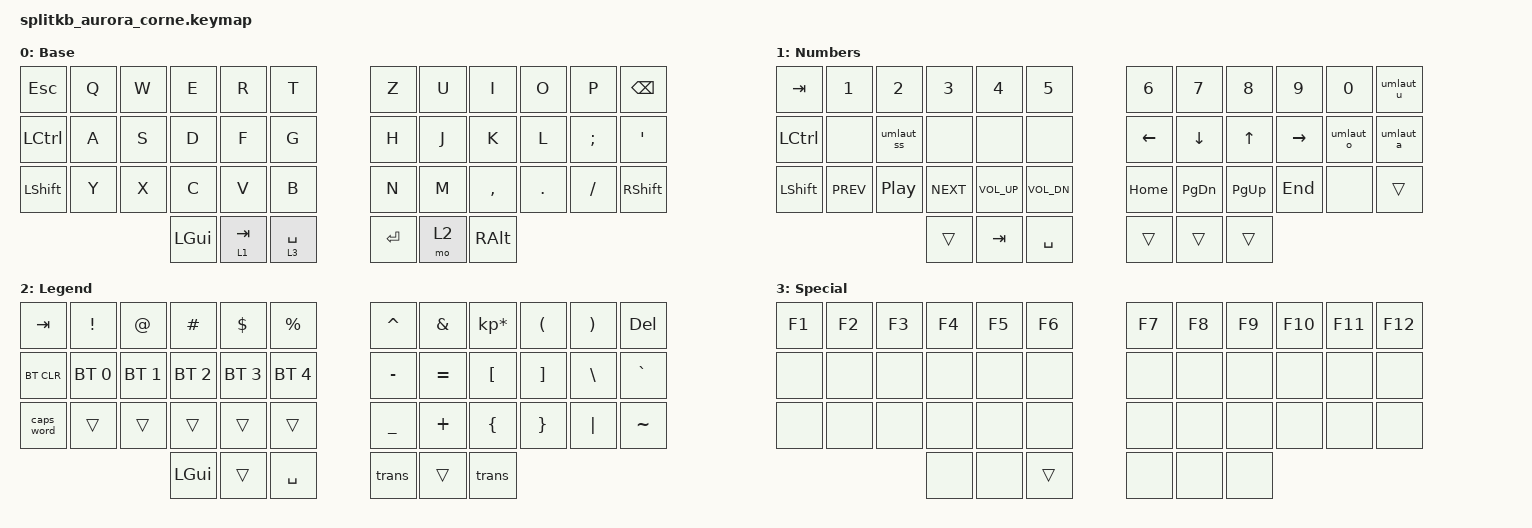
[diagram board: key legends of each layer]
/*
 * Copyright (c) 2020 The ZMK Contributors
 *
 * SPDX-License-Identifier: MIT
 */

#include <behaviors.dtsi>
#include <dt-bindings/zmk/keys.h>
#include <dt-bindings/zmk/bt.h>

/ {
  macros {
        umlaut_a_lower: umlaut_a_lower {
            compatible = "zmk,behavior-macro";
            #binding-cells = <0>;
            bindings = <&kp LALT &kp U &kp A>;
        };
        
        umlaut_o_lower: umlaut_o_lower {
            compatible = "zmk,behavior-macro";
            #binding-cells = <0>;
            bindings = <&kp LALT &kp U &kp O>;
        };
        
        umlaut_u_lower: umlaut_u_lower {
            compatible = "zmk,behavior-macro";
            #binding-cells = <0>;
            bindings = <&kp LALT &kp U &kp U>;
        };

        umlaut_a_upper: umlaut_a_upper {
            compatible = "zmk,behavior-macro";
            #binding-cells = <0>;
            bindings = <&kp LALT &kp U &kp LS(A)>;
        };
        
        umlaut_o_upper: umlaut_o_upper {
            compatible = "zmk,behavior-macro";
            #binding-cells = <0>;
            bindings = <&kp LALT &kp U &kp LS(O)>;
        };
        
        umlaut_u_upper: umlaut_u_upper {
            compatible = "zmk,behavior-macro";
            #binding-cells = <0>;
            bindings = <&kp LALT &kp U &kp LS(U)>;
        };
        
        umlaut_ss: umlaut_ss {
            compatible = "zmk,behavior-macro";
            #binding-cells = <0>;
            bindings = <&kp LALT &kp S>;
        };
    };

    behaviors {
        umlaut_a: umlaut_a {
            compatible = "zmk,behavior-mod-morph";
            #binding-cells = <0>;
            bindings = <&umlaut_a_lower>, <&umlaut_a_upper>;
            mods = <(MOD_LSFT|MOD_RSFT)>;
        };
        
        umlaut_o: umlaut_o {
            compatible = "zmk,behavior-mod-morph";
            #binding-cells = <0>;
            bindings = <&umlaut_o_lower>, <&umlaut_o_upper>;
            mods = <(MOD_LSFT|MOD_RSFT)>;
        };
        
        umlaut_u: umlaut_u {
            compatible = "zmk,behavior-mod-morph";
            #binding-cells = <0>;
            bindings = <&umlaut_u_lower>, <&umlaut_u_upper>;
            mods = <(MOD_LSFT|MOD_RSFT)>;
        };
    };

    keymap {
        compatible = "zmk,keymap";
        
        default_layer {
            display-name = "Base";
        // -----------------------------------------------------------------------------------------
        //     | ESC  |  Q  |  W  |  E  |  R      |  T            |               |  Z  |  U   |  I  |  O   |  P  | BACKSPACE    |
        //     | CTRL |  A  |  S  |  D  |  F      |  G            |               |  H  |  J   |  K  |  L   |  ;  | SINGLE QUOTE |
        //     | SHFT |  Y  |  X  |  C  |  V      |  B            |               |  N  |  M   |  ,  |  .   |  /  | SHIFT        |
        //                        | GUI | LOW/TAB | special/SPACE |               | ENT | RSE  | ALT |
            bindings = <
               &kp ESC   &kp Q &kp W &kp E    &kp R     &kp T            &kp Z   &kp U  &kp I     &kp O   &kp P    &kp BSPC
               &kp LCTRL &kp A &kp S &kp D    &kp F     &kp G            &kp H   &kp J  &kp K     &kp L   &kp SEMI &kp SQT 
               &kp LSHFT &kp Y &kp X &kp C    &kp V     &kp B            &kp N   &kp M  &kp COMMA &kp DOT &kp FSLH &kp RSHFT 
                                     &kp LGUI &lt 1 TAB &lt 3 SPACE      &kp RET &mo 2  &kp RALT
            >;
        };
        
        lower_layer {
            display-name = "Numbers";
        // -----------------------------------------------------------------------------------------
        //     |  TAB     |  1   |  2   |  3   |  4     |  5       |          |  6   |  7    |  8    |  9  |  0  |  Ü  |
        //     | CTRL     |      |  ß   |      |        |          |          | LFT  | DWN   |  UP   | RGT |  Ö  |  Ä  |
        //     | SHFT     | PREV |  PP  | NEXT | VOL_UP | VOL_DOWN |          | HOME | PG_DN | PG_UP | END |     |     |
        //                              | GUI  | TAB    | SPACE    |          | ENT  | RSE   | ALT   |
            bindings = <
               &kp TAB   &kp N1      &kp N2      &kp N3      &kp N4        &kp N5           &kp N6    &kp N7     &kp N8     &kp N9    &kp N0     &umlaut_u
               &kp LCTRL &none       &umlaut_ss  &none       &none         &none            &kp LEFT  &kp DOWN   &kp UP     &kp RIGHT &umlaut_o  &umlaut_a
               &kp LSHFT &kp C_PREV  &kp C_PP    &kp C_NEXT  &kp C_VOL_UP  &kp C_VOL_DN     &kp HOME  &kp PG_DN  &kp PG_UP  &kp END   &none      &trans
                                  	             &trans      &kp TAB       &kp SPACE        &trans    &trans     &trans
            >;
        };
        
        
        raise_layer {
            display-name = "Legend";
        // -----------------------------------------------------------------------------------------
        //     |  TAB      |  !  |  @  |  #  |  $  |  %    |       |  ^  | & |  *  |  (  |  )   | DEL |
        //     | BTCLR     | BT1 | BT2 | BT3 | BT4 | BT5   |       |  -  | = |  [  |  ]  |  \   |  `  |
        //     | CAPS_WORD |     |     |     |     |       |       |  _  | + |  {  |  }  | "|"  |  ~  |
        //                             | GUI |     | SPACE |       | ENT |   | ALT |
            bindings = <
               &kp TAB    &kp EXCL     &kp AT       &kp HASH     &kp DLLR     &kp PRCNT         &kp CARET &kp AMPS  &kp KP_MULTIPLY &kp LPAR &kp RPAR &kp DEL
               &bt BT_CLR &bt BT_SEL 0 &bt BT_SEL 1 &bt BT_SEL 2 &bt BT_SEL 3 &bt BT_SEL 4      &kp MINUS &kp EQUAL &kp LBKT        &kp RBKT &kp BSLH &kp GRAVE
               &caps_word &trans       &trans       &trans       &trans       &trans            &kp UNDER &kp PLUS  &kp LBRC        &kp RBRC &kp PIPE &kp TILDE
                            	                    &kp LGUI     &trans      &kp SPACE         &kp trans  &trans    &kp trans
            >;
        };
        
        special_layer {
            display-name = "Special";
        // -----------------------------------------------------------------------------------------
        // |  F1  |  F2  |  F3  |  F4  |  F5  |  F6  |  F7  |  F8  |  F9  |  F10 |  F11 |  F12 |
        // |      |      |      |      |      |      |      |      |      |      |      |      |
        // |      |      |      |      |      |      |      |      |      |      |      |      |
        //                      |      |      |      |      |      |      |      |
            bindings = <  
                &kp F1 &kp F2 &kp F3 &kp F4 &kp F5 &kp F6  &kp F7 &kp F8 &kp F9 &kp F10 &kp F11 &kp F12
                &none  &none  &none  &none  &none  &none   &none  &none  &none  &none   &none   &none
                &none  &none  &none  &none  &none  &none   &none  &none  &none  &none   &none   &none
                                     &none  &none  &trans  &none  &none  &none
                >;
        };
    };
};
